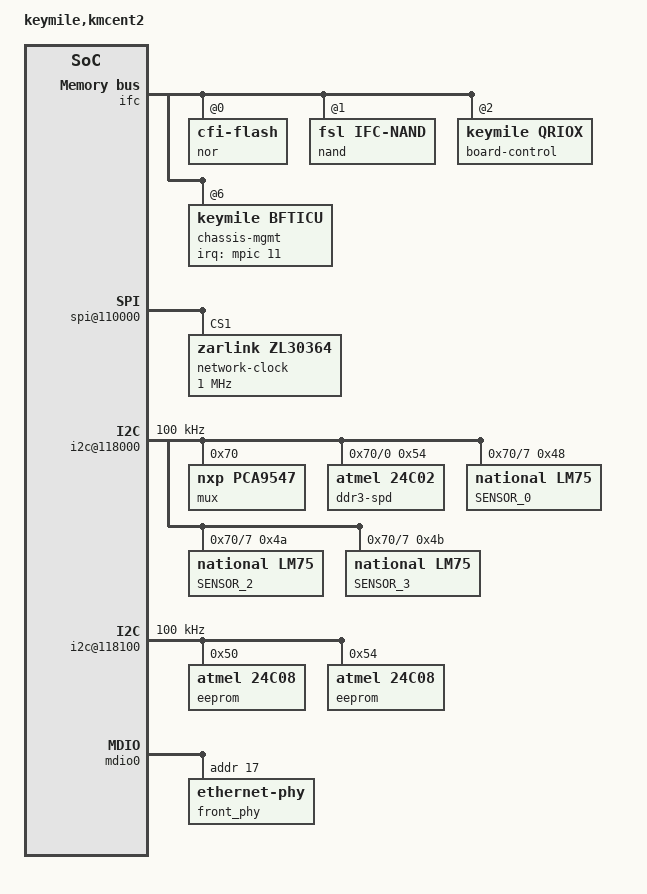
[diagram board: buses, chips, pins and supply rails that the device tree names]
// SPDX-License-Identifier: GPL-2.0-or-later
/*
 * Keymile kmcent2 Device Tree Source, based on T1040RDB DTS
 *
 * (C) Copyright 2016
 * Valentin Longchamp, Keymile AG, valentin.longchamp@keymile.com
 *
 * Copyright 2014 - 2015 Freescale Semiconductor Inc.
 */

/include/ "t104xsi-pre.dtsi"

/ {
	model = "keymile,kmcent2";
	compatible = "keymile,kmcent2";

	aliases {
		front_phy = &front_phy;
	};

	reserved-memory {
		#address-cells = <2>;
		#size-cells = <2>;
		ranges;

		bman_fbpr: bman-fbpr {
			size = <0 0x1000000>;
			alignment = <0 0x1000000>;
		};
		qman_fqd: qman-fqd {
			size = <0 0x400000>;
			alignment = <0 0x400000>;
		};
		qman_pfdr: qman-pfdr {
			size = <0 0x2000000>;
			alignment = <0 0x2000000>;
		};
	};

	ifc: localbus@ffe124000 {
		reg = <0xf 0xfe124000 0 0x2000>;
		ranges = <0 0 0xf 0xe8000000 0x04000000
			  1 0 0xf 0xfa000000 0x00010000
			  2 0 0xf 0xfb000000 0x00010000
			  4 0 0xf 0xc0000000 0x08000000
			  6 0 0xf 0xd0000000 0x08000000
			  7 0 0xf 0xd8000000 0x08000000>;

		nor@0,0 {
			#address-cells = <1>;
			#size-cells = <1>;
			compatible = "cfi-flash";
			reg = <0x0 0x0 0x04000000>;
			bank-width = <2>;
			device-width = <2>;
		};

		nand@1,0 {
			#address-cells = <1>;
			#size-cells = <1>;
			compatible = "fsl,ifc-nand";
			reg = <0x1 0x0 0x10000>;
		};

		board-control@2,0 {
			compatible = "keymile,qriox";
			reg = <0x2 0x0 0x80>;
		};

		chassis-mgmt@6,0 {
			compatible = "keymile,bfticu";
			reg = <6 0 0x100>;
			interrupt-controller;
			interrupt-parent = <&mpic>;
			interrupts = <11 1 0 0>;
			#interrupt-cells = <1>;
		};

	};

	memory {
		device_type = "memory";
	};

	dcsr: dcsr@f00000000 {
		ranges = <0x00000000 0xf 0x00000000 0x01072000>;
	};

	bportals: bman-portals@ff4000000 {
		ranges = <0x0 0xf 0xf4000000 0x2000000>;
	};

	qportals: qman-portals@ff6000000 {
		ranges = <0x0 0xf 0xf6000000 0x2000000>;
	};

	soc: soc@ffe000000 {
		ranges = <0x00000000 0xf 0xfe000000 0x1000000>;
		reg = <0xf 0xfe000000 0 0x00001000>;

		spi@110000 {
			network-clock@1 {
				compatible = "zarlink,zl30364";
				reg = <1>;
				spi-max-frequency = <1000000>;
			};
		};

		sdhc@114000 {
			status = "disabled";
		};

		i2c@118000 {
			clock-frequency = <100000>;

			mux@70 {
				compatible = "nxp,pca9547";
				reg = <0x70>;
				#address-cells = <1>;
				#size-cells = <0>;
				i2c-mux-idle-disconnect;

				i2c@0 {
					reg = <0>;
					#address-cells = <1>;
					#size-cells = <0>;

					eeprom@54 {
						compatible = "atmel,24c02";
						reg = <0x54>;
						pagesize = <2>;
						read-only;
						label = "ddr3-spd";
					};
				};

				i2c@7 {
					reg = <7>;
					#address-cells = <1>;
					#size-cells = <0>;

					temp-sensor@48 {
						compatible = "national,lm75";
						reg = <0x48>;
						label = "SENSOR_0";
					};
					temp-sensor@4a {
						compatible = "national,lm75";
						reg = <0x4a>;
						label = "SENSOR_2";
					};
					temp-sensor@4b {
						compatible = "national,lm75";
						reg = <0x4b>;
						label = "SENSOR_3";
					};
				};
			};
		};

		i2c@118100 {
			clock-frequency = <100000>;

			eeprom@50 {
				compatible = "atmel,24c08";
				reg = <0x50>;
				pagesize = <16>;
			};

			eeprom@54 {
				compatible = "atmel,24c08";
				reg = <0x54>;
				pagesize = <16>;
			};
		};

		i2c@119000 {
			status = "disabled";
		};

		i2c@119100 {
			status = "disabled";
		};

		serial2: serial@11d500 {
			status = "disabled";
		};

		serial3: serial@11d600 {
			status = "disabled";
		};

		usb0: usb@210000 {
			status = "disabled";
		};
		usb1: usb@211000 {
			status = "disabled";
		};

		display@180000 {
			status = "disabled";
		};

		sata@220000 {
			status = "disabled";
		};
		sata@221000 {
			status = "disabled";
		};

		fman@400000 {
			ethernet@e0000 {
				phy-mode = "sgmii";
				fixed-link {
					speed = <1000>;
					full-duplex;
				};
			};

			ethernet@e2000 {
				phy-mode = "sgmii";
				fixed-link {
					speed = <1000>;
					full-duplex;
				};
			};

			ethernet@e4000 {
				status = "disabled";
			};

			ethernet@e6000 {
				status = "disabled";
			};

			ethernet@e8000 {
				phy-handle = <&front_phy>;
				phy-mode = "rgmii-id";
			};

			mdio0: mdio@fc000 {
				front_phy: ethernet-phy@11 {
					reg = <0x11>;
				};
			};
		};
	};


	pci0: pcie@ffe240000 {
		reg = <0xf 0xfe240000 0 0x10000>;
		ranges = <0x02000000 0 0xe0000000 0xc 0x00000000 0x0 0x20000000
			  0x01000000 0 0x00000000 0xf 0xf8000000 0x0 0x00010000>;
		pcie@0 {
			ranges = <0x02000000 0 0xe0000000
				  0x02000000 0 0xe0000000
				  0 0x20000000

				  0x01000000 0 0x00000000
				  0x01000000 0 0x00000000
				  0 0x00010000>;
		};
	};

	pci1: pcie@ffe250000 {
		status = "disabled";
		reg = <0xf 0xfe250000 0 0x10000>;
		ranges = <0x02000000 0 0xe0000000 0xc 0x10000000 0 0x10000000
			  0x01000000 0 0 0xf 0xf8010000 0 0x00010000>;
		pcie@0 {
			ranges = <0x02000000 0 0xe0000000
				  0x02000000 0 0xe0000000
				  0 0x10000000

				  0x01000000 0 0x00000000
				  0x01000000 0 0x00000000
				  0 0x00010000>;
		};
	};

	pci2: pcie@ffe260000 {
		status = "disabled";
		reg = <0xf 0xfe260000 0 0x10000>;
		ranges = <0x02000000 0 0xe0000000 0xc 0x20000000 0 0x10000000
			  0x01000000 0 0x00000000 0xf 0xf8020000 0 0x00010000>;
		pcie@0 {
			ranges = <0x02000000 0 0xe0000000
				  0x02000000 0 0xe0000000
				  0 0x10000000

				  0x01000000 0 0x00000000
				  0x01000000 0 0x00000000
				  0 0x00010000>;
		};
	};

	pci3: pcie@ffe270000 {
		status = "disabled";
		reg = <0xf 0xfe270000 0 0x10000>;
		ranges = <0x02000000 0 0xe0000000 0xc 0x30000000 0 0x10000000
			  0x01000000 0 0x00000000 0xf 0xf8030000 0 0x00010000>;
		pcie@0 {
			ranges = <0x02000000 0 0xe0000000
				  0x02000000 0 0xe0000000
				  0 0x10000000

				  0x01000000 0 0x00000000
				  0x01000000 0 0x00000000
				  0 0x00010000>;
		};
	};

	qe: qe@ffe140000 {
		ranges = <0x0 0xf 0xfe140000 0x40000>;
		reg = <0xf 0xfe140000 0 0x480>;
		brg-frequency = <0>;
		bus-frequency = <0>;

		si1: si@700 {
			compatible = "fsl,t1040-qe-si";
			reg = <0x700 0x80>;
		};

		siram1: siram@1000 {
			compatible = "fsl,t1040-qe-siram";
			reg = <0x1000 0x800>;
		};

		ucc_hdlc: ucc@2000 {
			device_type = "hdlc";
			compatible = "fsl,ucc-hdlc";
			rx-clock-name = "clk9";
			tx-clock-name = "clk9";
			fsl,hdlc-bus;
		};
	};
};

#include "t1040si-post.dtsi"
